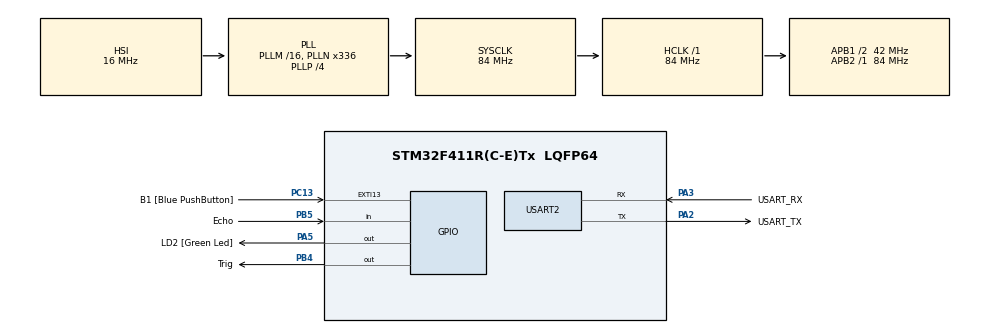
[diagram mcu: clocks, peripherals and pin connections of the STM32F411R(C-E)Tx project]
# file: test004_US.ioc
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Mcu.Family=STM32F4
Mcu.Name=STM32F411R(C-E)Tx
Mcu.Package=LQFP64
NVIC.PriorityGroup=NVIC_PRIORITYGROUP_0
PA13.GPIO_Label=TMS
PA13.Mode=Serial_Wire
PA13.Signal=SYS_JTMS-SWDIO
PA14.GPIO_Label=TCK
PA14.Mode=Serial_Wire
PA14.Signal=SYS_JTCK-SWCLK
PA2.GPIO_Label=USART_TX
PA2.Mode=Asynchronous
PA2.Signal=USART2_TX
PA3.GPIO_Label=USART_RX
PA3.Mode=Asynchronous
PA3.Signal=USART2_RX
PA5.GPIO_Label=LD2 [Green Led]
PA5.Signal=GPIO_Output
PB4.GPIO_Label=Trig
PB4.Signal=GPIO_Output
PB5.GPIO_Label=Echo
PB5.Signal=GPIO_Input
PC13-ANTI_TAMP.GPIO_Label=B1 [Blue PushButton]
PC13-ANTI_TAMP.GPIO_ModeDefaultEXTI=GPIO_MODE_IT_FALLING
PC13-ANTI_TAMP.Signal=GPXTI13
PC14-OSC32_IN.Mode=LSE-External-Oscillator
PC14-OSC32_IN.Signal=RCC_OSC32_IN
PC15-OSC32_OUT.Mode=LSE-External-Oscillator
PC15-OSC32_OUT.Signal=RCC_OSC32_OUT
PH0\ -\ OSC_IN.Mode=HSE-External-Clock-Source
PH0\ -\ OSC_IN.Signal=RCC_OSC_IN
PH1\ -\ OSC_OUT.Mode=HSE-External-Clock-Source
PH1\ -\ OSC_OUT.Signal=RCC_OSC_OUT
ProjectManager.HeapSize=0x200
ProjectManager.StackSize=0x400
ProjectManager.TargetToolchain=STM32CubeIDE
RCC.48MHZClocksFreq_Value=84000000
RCC.AHBFreq_Value=84000000
RCC.APB1CLKDivider=RCC_HCLK_DIV2
RCC.APB1Freq_Value=42000000
RCC.APB1TimFreq_Value=84000000
RCC.APB2Freq_Value=84000000
RCC.APB2TimFreq_Value=84000000
RCC.CortexFreq_Value=84000000
RCC.FLatency-AdvancedSettings=FLASH_LATENCY_2
RCC.HCLKFreq_Value=84000000
RCC.HSE_VALUE=8000000
RCC.HSI_VALUE=16000000
RCC.PLLN=336
RCC.PLLP=RCC_PLLP_DIV4
RCC.SYSCLKFreq_VALUE=84000000
RCC.SYSCLKSource=RCC_SYSCLKSOURCE_PLLCLK
RCC.VCOOutputFreq_Value=336000000
TIM5.Prescaler=84-1
USART2.VirtualMode=VM_ASYNC
VP_TIM5_VS_ClockSourceINT.Mode=Internal
board=NUCLEO-F411RE

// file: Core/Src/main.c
/* USER CODE BEGIN Header */
/**
  ******************************************************************************
  * @file           : main.c
  * @brief          : Main program body
  ******************************************************************************
  * @attention
  *
  * Copyright (c) 2024 STMicroelectronics.
  * All rights reserved.
  *
  * This software is licensed under terms that can be found in the LICENSE file
  * in the root directory of this software component.
  * If no LICENSE file comes with this software, it is provided AS-IS.
  *
  ******************************************************************************
  */
/* USER CODE END Header */
#include "main.h"

TIM_HandleTypeDef htim5;

UART_HandleTypeDef huart2;

void SystemClock_Config(void);
static void MX_GPIO_Init(void);
static void MX_USART2_UART_Init(void);
static void MX_TIM5_Init(void);

/* USER CODE BEGIN 0 */
void microDelay(int us)
{
	/*
	int t1 = htim5.Instance->CNT;
	while(1)
	{
		int tmp_us = htim5.Instance->CNT - t1; // 경과?���??
		if(tmp_us > us) break;
	}
	*/
	//while((htim5.Instance->CNT - t1) > us);
	htim5.Instance->CNT = 0;
	while(htim5.Instance->CNT < us);
}
void Trigger()
{
	//TriggerSignal

		  HAL_GPIO_WritePin(Trig_GPIO_Port, Trig_Pin, 1);
		  microDelay(10);	  //HAL_Delay(0.01);
		  HAL_GPIO_WritePin(Trig_GPIO_Port, Trig_Pin, 0);
		  microDelay(10);
}
double Distance(void)
{
	Trigger();
	/*
	  while(1)
	  {
		  int e1 = HAL_GPIO_ReadPin(Echo_GPIO_Port,Echo_Pin);
		  if(e1 == 1) break;
	  }
	  */
		  // Wait util Echo Rising Edge
		  while(HAL_GPIO_ReadPin(Echo_GPIO_Port,Echo_Pin) != 1);
		  int t1 = htim5.Instance->CNT;
		  // Wait until Echo Falling_Edge
		  while(HAL_GPIO_ReadPin(Echo_GPIO_Port,Echo_Pin) != 0);
		  int t2 = htim5.Instance->CNT;
		  double dist = (t2-t1)*0.000170; // meter
		  dist *= 100;

		  //microDelay(100000);

		  return dist;
}
/* USER CODE END 0 */

int main(void)
{

  /* MCU Configuration--------------------------------------------------------*/

  /* Reset of all peripherals, Initializes the Flash interface and the Systick. */
  HAL_Init();

  /* Configure the system clock */
  SystemClock_Config();

  /* Initialize all configured peripherals */
  MX_GPIO_Init();
  MX_USART2_UART_Init();
  MX_TIM5_Init();
  /* USER CODE BEGIN 2 */
  ProgramStart("UltraSonic");
  HAL_TIM_Base_Start(&htim5);
  /* USER CODE END 2 */

  /* Infinite loop */
  while (1)
  {

    /* USER CODE BEGIN 3 */
	  double d = Distance();
	  printf("\033[10;10HDistance : %.2f cm\r\n", d);
	  HAL_Delay(100);
  }
  /* USER CODE END 3 */
}

void SystemClock_Config(void)
{
  RCC_OscInitTypeDef RCC_OscInitStruct = {0};
  RCC_ClkInitTypeDef RCC_ClkInitStruct = {0};

  /** Configure the main internal regulator output voltage
  */
  __HAL_RCC_PWR_CLK_ENABLE();
  __HAL_PWR_VOLTAGESCALING_CONFIG(PWR_REGULATOR_VOLTAGE_SCALE1);

  /** Initializes the RCC Oscillators according to the specified parameters
  * in the RCC_OscInitTypeDef structure.
  */
  RCC_OscInitStruct.OscillatorType = RCC_OSCILLATORTYPE_HSI;
  RCC_OscInitStruct.HSIState = RCC_HSI_ON;
  RCC_OscInitStruct.HSICalibrationValue = RCC_HSICALIBRATION_DEFAULT;
  RCC_OscInitStruct.PLL.PLLState = RCC_PLL_ON;
  RCC_OscInitStruct.PLL.PLLSource = RCC_PLLSOURCE_HSI;
  RCC_OscInitStruct.PLL.PLLM = 16;
  RCC_OscInitStruct.PLL.PLLN = 336;
  RCC_OscInitStruct.PLL.PLLP = RCC_PLLP_DIV4;
  RCC_OscInitStruct.PLL.PLLQ = 4;
  if (HAL_RCC_OscConfig(&RCC_OscInitStruct) != HAL_OK)
  {
    Error_Handler();
  }

  /** Initializes the CPU, AHB and APB buses clocks
  */
  RCC_ClkInitStruct.ClockType = RCC_CLOCKTYPE_HCLK|RCC_CLOCKTYPE_SYSCLK
                              |RCC_CLOCKTYPE_PCLK1|RCC_CLOCKTYPE_PCLK2;
  RCC_ClkInitStruct.SYSCLKSource = RCC_SYSCLKSOURCE_PLLCLK;
  RCC_ClkInitStruct.AHBCLKDivider = RCC_SYSCLK_DIV1;
  RCC_ClkInitStruct.APB1CLKDivider = RCC_HCLK_DIV2;
  RCC_ClkInitStruct.APB2CLKDivider = RCC_HCLK_DIV1;

  if (HAL_RCC_ClockConfig(&RCC_ClkInitStruct, FLASH_LATENCY_2) != HAL_OK)
  {
    Error_Handler();
  }
}

static void MX_TIM5_Init(void)
{

  TIM_ClockConfigTypeDef sClockSourceConfig = {0};
  TIM_MasterConfigTypeDef sMasterConfig = {0};

  htim5.Instance = TIM5;
  htim5.Init.Prescaler = 84-1;
  htim5.Init.CounterMode = TIM_COUNTERMODE_UP;
  htim5.Init.Period = 4294967295;
  htim5.Init.ClockDivision = TIM_CLOCKDIVISION_DIV1;
  htim5.Init.AutoReloadPreload = TIM_AUTORELOAD_PRELOAD_DISABLE;
  if (HAL_TIM_Base_Init(&htim5) != HAL_OK)
  {
    Error_Handler();
  }
  sClockSourceConfig.ClockSource = TIM_CLOCKSOURCE_INTERNAL;
  if (HAL_TIM_ConfigClockSource(&htim5, &sClockSourceConfig) != HAL_OK)
  {
    Error_Handler();
  }
  sMasterConfig.MasterOutputTrigger = TIM_TRGO_RESET;
  sMasterConfig.MasterSlaveMode = TIM_MASTERSLAVEMODE_DISABLE;
  if (HAL_TIMEx_MasterConfigSynchronization(&htim5, &sMasterConfig) != HAL_OK)
  {
    Error_Handler();
  }

}

static void MX_USART2_UART_Init(void)
{

  huart2.Instance = USART2;
  huart2.Init.BaudRate = 115200;
  huart2.Init.WordLength = UART_WORDLENGTH_8B;
  huart2.Init.StopBits = UART_STOPBITS_1;
  huart2.Init.Parity = UART_PARITY_NONE;
  huart2.Init.Mode = UART_MODE_TX_RX;
  huart2.Init.HwFlowCtl = UART_HWCONTROL_NONE;
  huart2.Init.OverSampling = UART_OVERSAMPLING_16;
  if (HAL_UART_Init(&huart2) != HAL_OK)
  {
    Error_Handler();
  }

}

static void MX_GPIO_Init(void)
{
  GPIO_InitTypeDef GPIO_InitStruct = {0};

  /* GPIO Ports Clock Enable */
  __HAL_RCC_GPIOC_CLK_ENABLE();
  __HAL_RCC_GPIOH_CLK_ENABLE();
  __HAL_RCC_GPIOA_CLK_ENABLE();
  __HAL_RCC_GPIOB_CLK_ENABLE();

  /*Configure GPIO pin Output Level */
  HAL_GPIO_WritePin(LD2_GPIO_Port, LD2_Pin, GPIO_PIN_RESET);

  /*Configure GPIO pin Output Level */
  HAL_GPIO_WritePin(Trig_GPIO_Port, Trig_Pin, GPIO_PIN_RESET);

  /*Configure GPIO pin : B1_Pin */
  GPIO_InitStruct.Pin = B1_Pin;
  GPIO_InitStruct.Mode = GPIO_MODE_IT_FALLING;
  GPIO_InitStruct.Pull = GPIO_NOPULL;
  HAL_GPIO_Init(B1_GPIO_Port, &GPIO_InitStruct);

  /*Configure GPIO pin : LD2_Pin */
  GPIO_InitStruct.Pin = LD2_Pin;
  GPIO_InitStruct.Mode = GPIO_MODE_OUTPUT_PP;
  GPIO_InitStruct.Pull = GPIO_NOPULL;
  GPIO_InitStruct.Speed = GPIO_SPEED_FREQ_LOW;
  HAL_GPIO_Init(LD2_GPIO_Port, &GPIO_InitStruct);

  /*Configure GPIO pin : Trig_Pin */
  GPIO_InitStruct.Pin = Trig_Pin;
  GPIO_InitStruct.Mode = GPIO_MODE_OUTPUT_PP;
  GPIO_InitStruct.Pull = GPIO_NOPULL;
  GPIO_InitStruct.Speed = GPIO_SPEED_FREQ_LOW;
  HAL_GPIO_Init(Trig_GPIO_Port, &GPIO_InitStruct);

  /*Configure GPIO pin : Echo_Pin */
  GPIO_InitStruct.Pin = Echo_Pin;
  GPIO_InitStruct.Mode = GPIO_MODE_INPUT;
  GPIO_InitStruct.Pull = GPIO_NOPULL;
  HAL_GPIO_Init(Echo_GPIO_Port, &GPIO_InitStruct);

}

void Error_Handler(void)
{
  __disable_irq();
  while (1)
  {
  }
}
